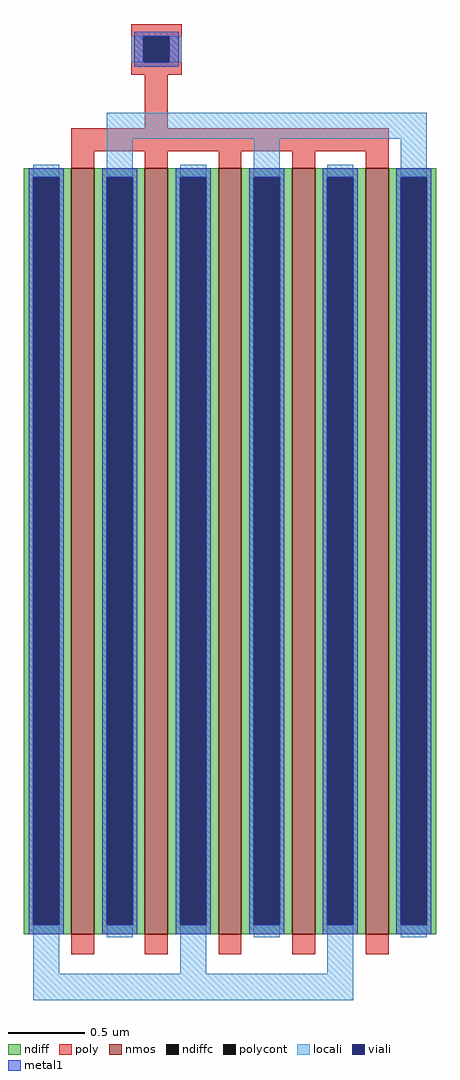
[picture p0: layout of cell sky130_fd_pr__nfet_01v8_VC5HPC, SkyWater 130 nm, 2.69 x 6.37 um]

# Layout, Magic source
magic
tech sky130A
magscale 1 2
<< nmos >>
rect -207 -500 -177 500
rect -111 -500 -81 500
rect -15 -500 15 500
rect 81 -500 111 500
rect 177 -500 207 500
<< ndiff >>
rect -269 488 -207 500
rect -269 -488 -257 488
rect -223 -488 -207 488
rect -269 -500 -207 -488
rect -177 488 -111 500
rect -177 -488 -161 488
rect -127 -488 -111 488
rect -177 -500 -111 -488
rect -81 488 -15 500
rect -81 -488 -65 488
rect -31 -488 -15 488
rect -81 -500 -15 -488
rect 15 488 81 500
rect 15 -488 31 488
rect 65 -488 81 488
rect 15 -500 81 -488
rect 111 488 177 500
rect 111 -488 127 488
rect 161 -488 177 488
rect 111 -500 177 -488
rect 207 488 269 500
rect 207 -488 223 488
rect 257 -488 269 488
rect 207 -500 269 -488
<< ndiffc >>
rect -257 -488 -223 488
rect -161 -488 -127 488
rect -65 -488 -31 488
rect 31 -488 65 488
rect 127 -488 161 488
rect 223 -488 257 488
<< poly >>
rect -129 672 -63 688
rect -129 638 -113 672
rect -79 638 -63 672
rect -129 622 -63 638
rect -111 552 -81 622
rect -207 522 207 552
rect -207 500 -177 522
rect -111 500 -81 522
rect -15 500 15 522
rect 81 500 111 522
rect 177 500 207 522
rect -207 -526 -177 -500
rect -111 -526 -81 -500
rect -15 -526 15 -500
rect 81 -526 111 -500
rect 177 -526 207 -500
<< polycont >>
rect -113 638 -79 672
<< locali >>
rect -129 638 -113 672
rect -79 638 -63 672
rect -161 538 257 572
rect -257 488 -223 504
rect -257 -552 -223 -488
rect -161 488 -127 538
rect -161 -504 -127 -488
rect -65 488 -31 504
rect -65 -552 -31 -488
rect 31 488 65 538
rect 31 -504 65 -488
rect 127 488 161 504
rect 127 -552 161 -488
rect 223 488 257 538
rect 223 -504 257 -488
rect -257 -586 161 -552
<< viali >>
rect -113 638 -79 672
rect -257 -488 -223 488
rect -161 -488 -127 488
rect -65 -488 -31 488
rect 31 -488 65 488
rect 127 -488 161 488
rect 223 -488 257 488
<< metal1 >>
rect -125 672 -67 678
rect -125 638 -113 672
rect -79 638 -67 672
rect -125 632 -67 638
rect -263 488 -217 500
rect -263 -488 -257 488
rect -223 -488 -217 488
rect -263 -500 -217 -488
rect -167 488 -121 500
rect -167 -488 -161 488
rect -127 -488 -121 488
rect -167 -500 -121 -488
rect -71 488 -25 500
rect -71 -488 -65 488
rect -31 -488 -25 488
rect -71 -500 -25 -488
rect 25 488 71 500
rect 25 -488 31 488
rect 65 -488 71 488
rect 25 -500 71 -488
rect 121 488 167 500
rect 121 -488 127 488
rect 161 -488 167 488
rect 121 -500 167 -488
rect 217 488 263 500
rect 217 -488 223 488
rect 257 -488 263 488
rect 217 -500 263 -488
<< properties >>
string gencell sky130_fd_pr__nfet_01v8
string parameters w 5 l 0.150 m 1 nf 5 diffcov 100 polycov 100 guard 0 glc 0 grc 0 gtc 0 gbc 0 tbcov 100 rlcov 100 topc 1 botc 0 poverlap 0 doverlap 1 lmin 0.15 wmin 0.42 compatible {sky130_fd_pr__nfet_01v8 sky130_fd_pr__nfet_01v8_lvt  sky130_fd_bs_flash__special_sonosfet_star  sky130_fd_pr__nfet_g5v0d10v5 sky130_fd_pr__nfet_05v0_nvt  sky130_fd_pr__nfet_03v3_nvt} full_metal 0 viasrc 100 viadrn 100 viagate 100 viagb 0 viagr 0 viagl 0 viagt 0
string library sky130
<< end >>
